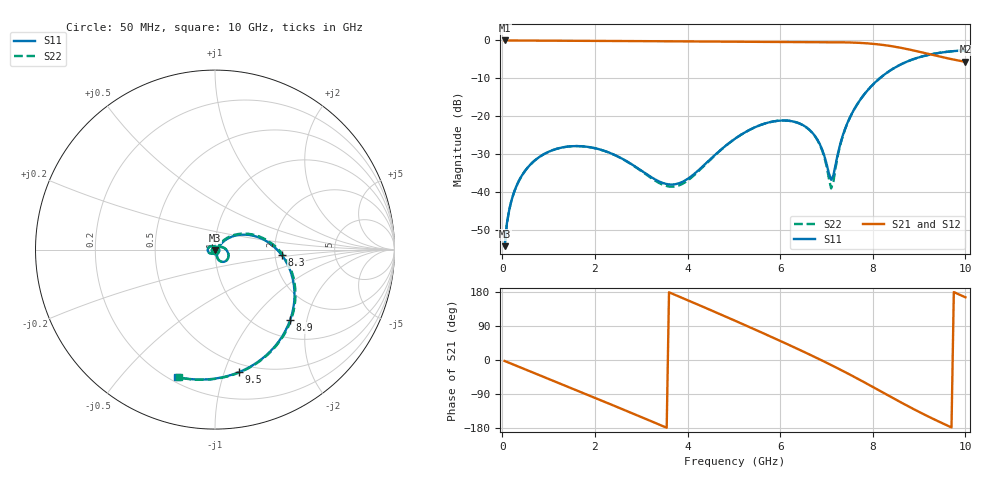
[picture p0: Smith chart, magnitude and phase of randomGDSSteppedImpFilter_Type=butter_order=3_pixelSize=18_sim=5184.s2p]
! freq	dB(S11)	phase(S11)	dB(S12)	phase(S12)
!  dB(S21)	phase(S21)	dB(S22)	phase(S22)
!S-par simulation data
#  GHz  S  DB  R 50
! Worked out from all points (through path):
!   200 points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, 50 MHz to 10 GHz, reference 50 ohm
!   highest |S21| = 0.00 dB at 50 MHz (marker M1); lowest = -5.6 dB at 10 GHz (marker M2)
!   group delay of S21, straight-line fit = 154 ps
!   lowest |S11| = -54.2 dB at 50 MHz (marker M3), VSWR 1.00, Z = 50 - j0.196 ohm
!   |S11| at or under -10 dB: start of sweep to 8.147 GHz
!   |S22| runs from -54.2 to -2.6 dB; largest |S21 - S12| = 0
!   S11 on the Smith chart (normalised r, x): 50 MHz: 1.00, -0.00; 8.3 GHz: 2.18, -0.16; 8.9 GHz: 1.37, -1.60; 9.5 GHz: 0.43, -1.12; 10 GHz: 0.23, -0.72
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0.05  -54.18 -89.9  -0.00 -2.5  -0.00 -2.5  -54.17 -89.8
0.1  -48.13 -93.1  -0.01 -5.1  -0.01 -5.1  -48.13 -93.1
0.2  -42.05 -98.4  -0.02 -10.1  -0.02 -10.1  -42.05 -98.3
0.5  -34.21 -114.6  -0.03 -25.0  -0.03 -25.0  -34.21 -114.4
1.15  -28.63 -149.5  -0.07 -57.4  -0.07 -57.4  -28.62 -148.8
1.75  -27.89 178.9  -0.11 -87.4  -0.11 -87.4  -27.90 -179.7
2.5  -30.58 137.6  -0.15 -125.1  -0.15 -125.1  -30.61 141.1
3.4  -37.21 77.8  -0.21 -171.0  -0.21 -171.0  -37.62 88.9
4.15  -35.10 41.9  -0.27 150.1  -0.27 150.1  -35.41 51.8
5.05  -25.66 8.1  -0.34 102.4  -0.34 102.4  -25.68 11.1
5.8  -21.46 -27.9  -0.39 61.6  -0.39 61.6  -21.46 -27.0
6.7  -24.36 -69.8  -0.43 10.7  -0.43 10.7  -24.43 -71.3
6.9  -28.52 -72.1  -0.44 -1.1  -0.44 -1.1  -28.74 -75.6
7.1  -36.70 -21.9  -0.45 -13.1  -0.45 -13.1  -38.97 -23.1
7.3  -27.17 42.4  -0.48 -25.5  -0.48 -25.5  -27.40 48.0
7.5  -20.45 40.7  -0.53 -38.1  -0.53 -38.1  -20.51 44.0
7.9  -12.96 20.2  -0.78 -64.3  -0.78 -64.3  -12.97 22.1
8.3  -8.55 -4.8  -1.32 -91.2  -1.32 -91.2  -8.55 -3.3
8.35  -8.13 -8.0  -1.40 -94.6  -1.40 -94.6  -8.13 -6.6
8.9  -4.83 -43.0  -2.69 -130.7  -2.69 -130.7  -4.83 -41.9
9.5  -3.15 -78.8  -4.39 -166.7  -4.39 -166.7  -3.15 -77.9
10  -2.61 -106.8  -5.62 165.4  -5.62 165.4  -2.61 -105.9
